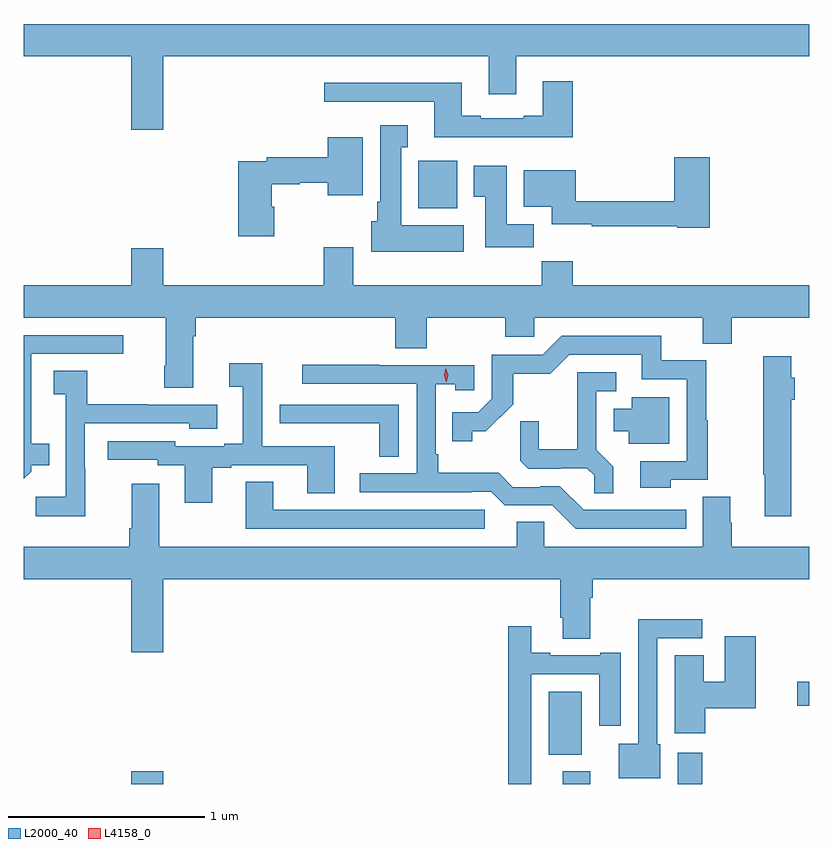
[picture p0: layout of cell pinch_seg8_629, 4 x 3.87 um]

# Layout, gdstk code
import gdstk
lib = gdstk.Library(unit=1e-6, precision=1e-09)
def R(c, l, rs):  # rectangles x0, y0, x1, y1
    for r in rs: c.add(gdstk.rectangle(r[:2], r[2:], *l))
def P(c, l, *ps):  # polygons
    for p in ps: c.add(gdstk.Polygon(p, *l))
L2000_40 = (2000, 40)
L4158_0 = (4158, 0)

pinch_seg8_629 = lib.new_cell('pinch_seg8_629')
R(pinch_seg8_629, L2000_40, [(344.828,1099.472,344.992,1099.537), (347.027,1099.472,347.167,1099.537), (347.612,1099.472,347.738,1099.63), (346.955,1099.622,347.125,1099.942), (348.221,1099.871,348.282,1099.993), (346.292,1102.406,346.489,1102.648)])
P(pinch_seg8_629, L2000_40, [(344.992,1103.18),(346.649,1103.18),(346.649,1102.986),(346.789,1102.986),(346.789,1103.18),(348.282,1103.18),(348.282,1103.344),(344.282,1103.344),(344.282,1103.18),(344.828,1103.18),(344.828,1102.806),(344.992,1102.806)],
  [(347.078,1103.053),(346.925,1103.053),(346.925,1102.876),(346.829,1102.876),(346.829,1102.863),(346.609,1102.863),(346.609,1102.876),(346.513,1102.876),(346.513,1103.044),(345.813,1103.044),(345.813,1102.947),(346.373,1102.947),(346.373,1102.766),(347.078,1102.766)],
  [(346.522,1102.318),(346.204,1102.318),(346.204,1102.715),(346.237,1102.715),(346.237,1102.828),(346.097,1102.828),(346.097,1102.438),(346.082,1102.438),(346.082,1102.338),(346.052,1102.338),(346.052,1102.184),(346.522,1102.184)],
  [(345.557,1102.413),(345.544,1102.413),(345.544,1102.528),(345.687,1102.528),(345.687,1102.536),(345.83,1102.536),(345.83,1102.472),(346.009,1102.472),(346.009,1102.768),(345.83,1102.768),(345.83,1102.664),(345.52,1102.664),(345.52,1102.644),(345.374,1102.644),(345.374,1102.263),(345.557,1102.263)],
  [(347.777,1102.666),(347.594,1102.666),(347.594,1102.442),(347.093,1102.442),(347.093,1102.6),(346.829,1102.6),(346.829,1102.412),(346.97,1102.412),(346.97,1102.325),(347.176,1102.325),(347.176,1102.314),(347.61,1102.314),(347.61,1102.306),(347.777,1102.306)],
  [(346.88,1102.324),(346.741,1102.324),(346.741,1102.621),(346.574,1102.621),(346.574,1102.465),(346.631,1102.465),(346.631,1102.206),(346.88,1102.206)],
  [(345.145,1101.752),(345.158,1101.752),(345.158,1101.848),(346.175,1101.848),(346.175,1101.691),(346.335,1101.691),(346.335,1101.848),(346.735,1101.848),(346.735,1101.75),(346.881,1101.75),(346.881,1101.848),(347.741,1101.848),(347.741,1101.715),(347.889,1101.715),(347.889,1101.848),(348.282,1101.848),(348.282,1102.012),(347.078,1102.012),(347.078,1102.136),(346.921,1102.136),(346.921,1102.012),(345.961,1102.012),(345.961,1102.207),(345.809,1102.207),(345.809,1102.012),(344.992,1102.012),(344.992,1102.201),(344.828,1102.201),(344.828,1102.012),(344.282,1102.012),(344.282,1101.848),(345.005,1101.848),(345.005,1101.604),(344.998,1101.604),(344.998,1101.492),(345.145,1101.492)],
  [(344.319,1101.063),(344.319,1101.095),(344.411,1101.095),(344.411,1101.205),(344.32,1101.205),(344.32,1101.663),(344.788,1101.663),(344.788,1101.759),(344.282,1101.759),(344.282,1101.026)],
  [(347.577,1101.021),(347.767,1101.021),(347.767,1101.326),(347.759,1101.326),(347.759,1101.63),(347.528,1101.63),(347.528,1101.756),(347.022,1101.756),(346.926,1101.66),(346.665,1101.66),(346.665,1101.435),(346.596,1101.366),(346.465,1101.366),(346.465,1101.219),(346.566,1101.219),(346.566,1101.269),(346.636,1101.269),(346.774,1101.406),(346.774,1101.562),(346.963,1101.562),(347.061,1101.66),(347.429,1101.66),(347.429,1101.534),(347.658,1101.534),(347.658,1101.117),(347.421,1101.117),(347.421,1100.981),(347.577,1100.981)],
  [(348.19,1101.429),(348.208,1101.429),(348.208,1101.543),(348.19,1101.543),(348.19,1101.652),(348.049,1101.652),(348.049,1101.047),(348.056,1101.047),(348.056,1100.835),(348.19,1100.835)],
  [(345.241,1101.084),(345.337,1101.084),(345.337,1101.096),(345.725,1101.096),(345.725,1100.953),(345.865,1100.953),(345.865,1101.192),(345.495,1101.192),(345.495,1101.616),(345.327,1101.616),(345.327,1101.496),(345.398,1101.496),(345.398,1101.205),(345.302,1101.205),(345.302,1101.192),(345.054,1101.192),(345.054,1101.219),(344.709,1101.219),(344.709,1101.123),(344.964,1101.123),(344.964,1101.096),(345.101,1101.096),(345.101,1100.904),(345.241,1100.904)],
  [(347.656,1100.868),(347.133,1100.868),(347.013,1100.988),(346.912,1100.988),(346.912,1100.985),(346.773,1100.985),(346.7,1101.058),(346.393,1101.058),(346.393,1101.151),(346.38,1101.151),(346.38,1101.509),(346.479,1101.509),(346.479,1101.477),(346.575,1101.477),(346.575,1101.606),(346.091,1101.606),(346.091,1101.609),(345.699,1101.609),(345.699,1101.51),(346.284,1101.51),(346.284,1101.054),(345.993,1101.054),(345.993,1100.958),(346.562,1100.958),(346.562,1100.961),(346.662,1100.961),(346.731,1100.892),(346.974,1100.892),(347.094,1100.772),(347.656,1100.772)],
  [(344.595,1101.077),(344.592,1101.077),(344.592,1101.309),(345.123,1101.309),(345.123,1101.281),(345.268,1101.281),(345.268,1101.405),(344.909,1101.405),(344.909,1101.408),(344.605,1101.408),(344.605,1101.578),(344.433,1101.578),(344.433,1101.457),(344.496,1101.457),(344.496,1100.935),(344.343,1100.935),(344.343,1100.837),(344.595,1100.837)],
  [(347.285,1101.089),(347.199,1101.175),(347.199,1101.474),(347.299,1101.474),(347.299,1101.57),(347.102,1101.57),(347.102,1101.178),(346.904,1101.178),(346.904,1101.321),(346.81,1101.321),(346.81,1101.119),(346.851,1101.078),(347.016,1101.078),(347.016,1101.081),(347.15,1101.081),(347.187,1101.044),(347.187,1100.953),(347.285,1100.953)],
  [(347.569,1101.442),(347.378,1101.442),(347.378,1101.385),(347.288,1101.385),(347.288,1101.269),(347.363,1101.269),(347.363,1101.206),(347.569,1101.206)],
  [(346.191,1101.405),(345.585,1101.405),(345.585,1101.31),(345.697,1101.31),(345.697,1101.309),(346.093,1101.309),(346.093,1101.139),(346.191,1101.139)],
  [(346.63,1100.868),(345.553,1100.868),(345.553,1101.011),(345.413,1101.011),(345.413,1100.772),(346.63,1100.772)],
  [(344.992,1100.516),(347.015,1100.516),(347.015,1100.32),(347.027,1100.32),(347.027,1100.212),(347.167,1100.212),(347.167,1100.42),(347.18,1100.42),(347.18,1100.516),(348.282,1100.516),(348.282,1100.68),(347.889,1100.68),(347.889,1100.802),(347.881,1100.802),(347.881,1100.936),(347.741,1100.936),(347.741,1100.68),(346.932,1100.68),(346.932,1100.807),(346.793,1100.807),(346.793,1100.68),(344.971,1100.68),(344.971,1101.001),(344.831,1101.001),(344.831,1100.776),(344.819,1100.776),(344.819,1100.68),(344.282,1100.68),(344.282,1100.516),(344.828,1100.516),(344.828,1100.142),(344.992,1100.142)],
  [(347.524,1099.674),(347.508,1099.674),(347.508,1100.214),(347.737,1100.214),(347.737,1100.312),(347.412,1100.312),(347.412,1099.678),(347.312,1099.678),(347.312,1099.502),(347.524,1099.502)],
  [(346.866,1100.031),(347.213,1100.031),(347.213,1099.77),(347.323,1099.77),(347.323,1100.14),(347.219,1100.14),(347.219,1100.127),(346.963,1100.127),(346.963,1100.14),(346.867,1100.14),(346.867,1100.275),(346.75,1100.275),(346.75,1099.472),(346.866,1099.472)],
  [(347.754,1099.859),(348.01,1099.859),(348.01,1100.224),(347.852,1100.224),(347.852,1099.993),(347.746,1099.993),(347.746,1100.129),(347.597,1100.129),(347.597,1099.731),(347.754,1099.731)])
P(pinch_seg8_629, L4158_0, [(346.434,1101.519),(346.434,1101.519),(346.423,1101.555),(346.432,1101.591),(346.432,1101.591),(346.432,1101.591),(346.443,1101.555),(346.434,1101.519)])

lib.write_gds('pinch_seg8_629.gds')
